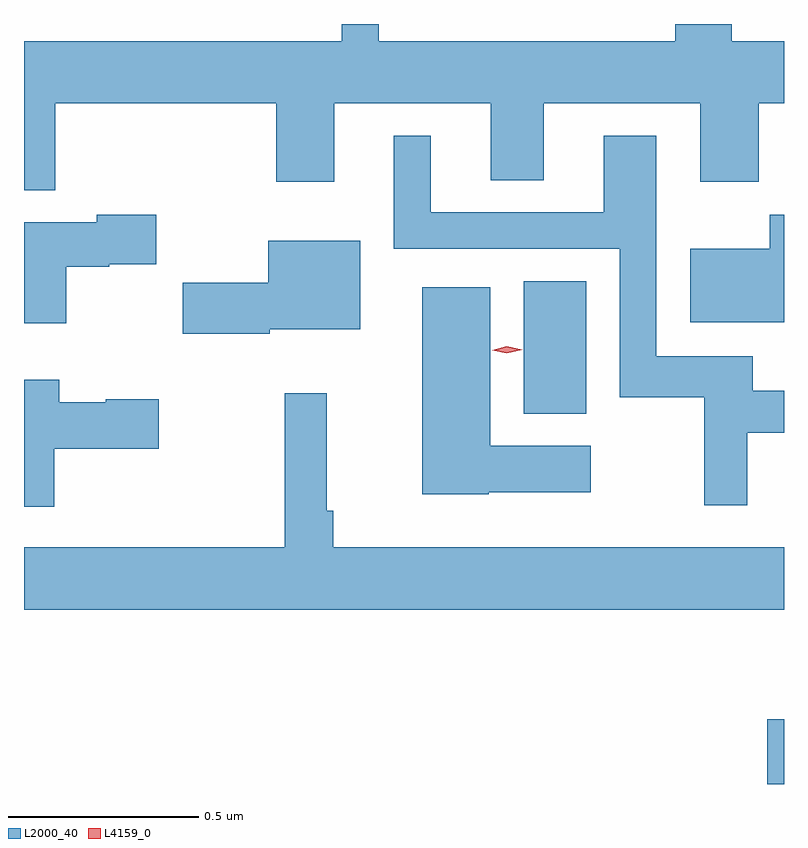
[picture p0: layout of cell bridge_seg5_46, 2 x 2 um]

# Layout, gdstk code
import gdstk
lib = gdstk.Library(unit=1e-6, precision=1e-09)
def R(c, l, rs):  # rectangles x0, y0, x1, y1
    for r in rs: c.add(gdstk.rectangle(r[:2], r[2:], *l))
def P(c, l, *ps):  # polygons
    for p in ps: c.add(gdstk.Polygon(p, *l))
L2000_40 = (2000, 40)
L4159_0 = (4159, 0)

bridge_seg5_46 = lib.new_cell('bridge_seg5_46')
R(bridge_seg5_46, L2000_40, [(855.979,844.313,856.023,844.484), (855.338,845.288,855.502,845.636)])
P(bridge_seg5_46, L2000_40, [(854.105,846.104),(854.687,846.104),(854.687,845.898),(854.839,845.898),(854.839,846.104),(855.251,846.104),(855.251,845.902),(855.391,845.902),(855.391,846.104),(855.803,846.104),(855.803,845.898),(855.956,845.898),(855.956,846.104),(856.023,846.104),(856.023,846.268),(855.885,846.268),(855.885,846.313),(855.737,846.313),(855.737,846.268),(854.957,846.268),(854.957,846.313),(854.859,846.313),(854.859,846.268),(854.023,846.268),(854.023,845.876),(854.105,845.876)],
  [(855.926,845.238),(856.023,845.238),(856.023,845.348),(855.941,845.348),(855.941,845.439),(855.687,845.439),(855.687,846.019),(855.548,846.019),(855.548,845.817),(855.094,845.817),(855.094,846.019),(854.996,846.019),(854.996,845.721),(855.591,845.721),(855.591,845.331),(855.813,845.331),(855.813,845.046),(855.926,845.046)],
  [(854.134,845.674),(854.247,845.674),(854.247,845.681),(854.371,845.681),(854.371,845.811),(854.214,845.811),(854.214,845.791),(854.023,845.791),(854.023,845.525),(854.134,845.525)],
  [(856.023,845.811),(855.986,845.811),(855.986,845.722),(855.776,845.722),(855.776,845.528),(856.023,845.528)],
  [(854.67,845.51),(854.908,845.51),(854.908,845.743),(854.666,845.743),(854.666,845.632),(854.441,845.632),(854.441,845.498),(854.67,845.498)],
  [(855.246,845.081),(855.514,845.081),(855.514,845.203),(855.25,845.203),(855.25,845.62),(855.071,845.62),(855.071,845.075),(855.246,845.075)],
  [(854.102,845.195),(854.377,845.195),(854.377,845.325),(854.238,845.325),(854.238,845.317),(854.116,845.317),(854.116,845.377),(854.023,845.377),(854.023,845.043),(854.102,845.043)],
  [(856.023,844.936),(854.837,844.936),(854.837,845.032),(854.82,845.032),(854.82,845.341),(854.709,845.341),(854.709,844.936),(854.023,844.936),(854.023,844.772),(856.023,844.772)])
P(bridge_seg5_46, L4159_0, [(855.294,845.446),(855.255,845.455),(855.254,845.455),(855.255,845.455),(855.294,845.465),(855.334,845.456),(855.334,845.456),(855.334,845.456)])

lib.write_gds('bridge_seg5_46.gds')
